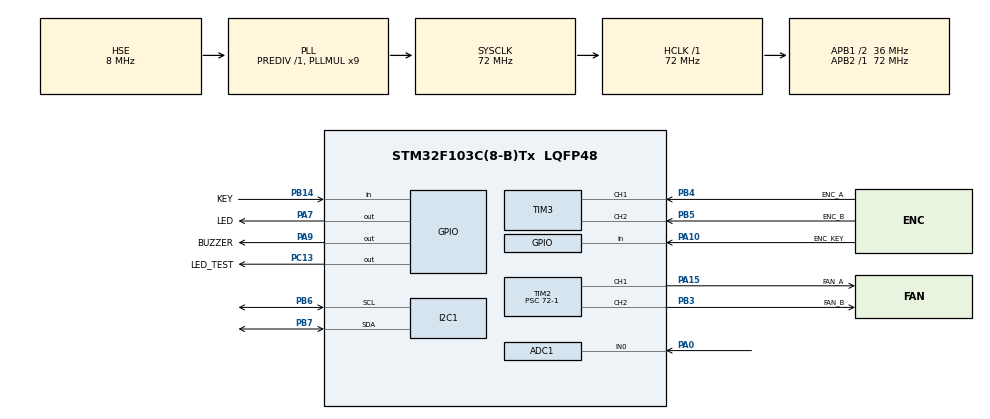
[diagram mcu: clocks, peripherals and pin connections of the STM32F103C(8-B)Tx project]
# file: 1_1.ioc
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ADC1.Channel-0\#ChannelRegularConversion=ADC_CHANNEL_0
ADC1.NbrOfConversionFlag=1
ADC1.Rank-0\#ChannelRegularConversion=1
ADC1.SamplingTime-0\#ChannelRegularConversion=ADC_SAMPLETIME_239CYCLES_5
ADC1.master=1
Mcu.Family=STM32F1
Mcu.Name=STM32F103C(8-B)Tx
Mcu.Package=LQFP48
NVIC.PriorityGroup=NVIC_PRIORITYGROUP_4
PA0-WKUP.GPIO_Mode=GPIO_MODE_ANALOG
PA0-WKUP.Signal=ADCx_IN0
PA10.GPIO_Label=ENC_KEY
PA10.GPIO_PuPd=GPIO_PULLUP
PA10.Signal=GPIO_Input
PA13.Mode=Serial_Wire
PA13.Signal=SYS_JTMS-SWDIO
PA14.Mode=Serial_Wire
PA14.Signal=SYS_JTCK-SWCLK
PA15.GPIO_Label=FAN_A
PA15.Signal=S_TIM2_CH1_ETR
PA7.GPIO_Label=LED
PA7.Signal=GPIO_Output
PA9.GPIO_Label=BUZZER
PA9.PinState=GPIO_PIN_SET
PA9.Signal=GPIO_Output
PB14.GPIO_Label=KEY
PB14.GPIO_PuPd=GPIO_PULLDOWN
PB14.Signal=GPIO_Input
PB3.GPIO_Label=FAN_B
PB3.Signal=S_TIM2_CH2
PB4.GPIO_Label=ENC_A
PB4.GPIO_PuPd=GPIO_PULLUP
PB4.Signal=S_TIM3_CH1
PB5.GPIO_Label=ENC_B
PB5.GPIO_PuPd=GPIO_PULLUP
PB5.Signal=S_TIM3_CH2
PB6.GPIO_Speed=GPIO_SPEED_FREQ_HIGH
PB6.Mode=I2C
PB6.Signal=I2C1_SCL
PB7.GPIO_Speed=GPIO_SPEED_FREQ_HIGH
PB7.Mode=I2C
PB7.Signal=I2C1_SDA
PC13-TAMPER-RTC.GPIO_Label=LED_TEST
PC13-TAMPER-RTC.GPIO_ModeDefaultOutputPP=GPIO_MODE_OUTPUT_OD
PC13-TAMPER-RTC.GPIO_PuPd=GPIO_NOPULL
PC13-TAMPER-RTC.PinState=GPIO_PIN_SET
PC13-TAMPER-RTC.Signal=GPIO_Output
PD0-OSC_IN.Mode=HSE-External-Oscillator
PD0-OSC_IN.Signal=RCC_OSC_IN
PD1-OSC_OUT.Mode=HSE-External-Oscillator
PD1-OSC_OUT.Signal=RCC_OSC_OUT
ProjectManager.HeapSize=0x200
ProjectManager.StackSize=0x400
ProjectManager.TargetToolchain=CMake
RCC.ADCPresc=RCC_ADCPCLK2_DIV6
RCC.AHBFreq_Value=72000000
RCC.APB1CLKDivider=RCC_HCLK_DIV2
RCC.APB1Freq_Value=36000000
RCC.APB1TimFreq_Value=72000000
RCC.APB2Freq_Value=72000000
RCC.APB2TimFreq_Value=72000000
RCC.HCLKFreq_Value=72000000
RCC.PLLMUL=RCC_PLL_MUL9
RCC.PLLSourceVirtual=RCC_PLLSOURCE_HSE
RCC.SYSCLKFreq_VALUE=72000000
RCC.SYSCLKSource=RCC_SYSCLKSOURCE_PLLCLK
RCC.USBFreq_Value=72000000
SH.ADCx_IN0.0=ADC1_IN0,IN0
SH.S_TIM2_CH1_ETR.0=TIM2_CH1,PWM Generation1 CH1
SH.S_TIM2_CH2.0=TIM2_CH2,PWM Generation2 CH2
SH.S_TIM3_CH1.0=TIM3_CH1,Encoder_Interface
SH.S_TIM3_CH2.0=TIM3_CH2,Encoder_Interface
TIM2.Channel-PWM\ Generation1\ CH1=TIM_CHANNEL_1
TIM2.Channel-PWM\ Generation2\ CH2=TIM_CHANNEL_2
TIM2.Period=100-1
TIM2.Prescaler=72-1
TIM3.IC1Polarity=TIM_ICPOLARITY_FALLING
VP_TIM2_VS_ClockSourceINT.Mode=Internal
board=custom

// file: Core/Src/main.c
/* USER CODE BEGIN Header */
/**
  ******************************************************************************
  * @file           : main.c
  * @brief          : Main program body
  ******************************************************************************
  * @attention
  *
  * Copyright (c) 2025 STMicroelectronics.
  * All rights reserved.
  *
  * This software is licensed under terms that can be found in the LICENSE file
  * in the root directory of this software component.
  * If no LICENSE file comes with this software, it is provided AS-IS.
  *
  ******************************************************************************
  */
/* USER CODE END Header */
#include "main.h"
#include "adc.h"
#include "i2c.h"
#include "tim.h"
#include "gpio.h"

/* USER CODE BEGIN Includes */
#include <math.h>
#include <stdio.h>
#include "ssd1306.h"
#include "drv8833.h"
/* USER CODE END Includes */

/* USER CODE BEGIN PTD */
typedef enum
{
  PHASE_WAIT = 0U,
  PHASE_ALERT
} Phase_t;

typedef enum
{
  UI_STATE_MENU = 0U,
  UI_STATE_MODULE
} UiState_t;

typedef enum
{
  MODULE_TIMER = 0U,
  MODULE_TEMPERATURE,
  MODULE_FAN,
  MODULE_COUNT
} ModuleId_t;

typedef enum
{
  BUTTON_EVENT_NONE = 0U,
  BUTTON_EVENT_SHORT,
  BUTTON_EVENT_LONG
} ButtonEvent_t;
/* USER CODE END PTD */

/* USER CODE BEGIN PD */
#define KEY_PRESSED_STATE GPIO_PIN_SET
/* ENC_KEY (PA10) is wired with a pull-up; low means pressed */
#define ENC_KEY_PRESSED_STATE GPIO_PIN_RESET
#define BUTTON_LONG_PRESS_MS 800U
#define BUTTON_DEBOUNCE_MS 20U
#define TEMP_SAMPLE_PERIOD_MS 1000U
#define TEMP_HIGH_STEP 0.5f
#define TEMP_HIGH_MIN 20.0f
#define TEMP_HIGH_MAX 80.0f
#define ENCODER_PULSES_PER_TURN 40
#define FAN_DUTY_MAX 100U
#define STARTUP_FRAME_INTERVAL_MS 120U
#define FAN_ANIM_INTERVAL_MS 120U

#define THERMISTOR_BETA 4250.0f
#define THERMISTOR_R0 100000.0f
#define THERMISTOR_T0 298.15f
#define SERIES_RESISTOR 100000.0f
#define VREF 3.3f
#define ADC_MAX 4095.0f
/* USER CODE END PD */

/* USER CODE BEGIN PV */
static uint8_t isRunning = 0U;
static Phase_t phase = PHASE_WAIT;
static uint32_t phaseStartTick = 0U;
static uint8_t buzzerPulseActive = 0U;
static uint32_t buzzerEventTick = 0U;
static uint32_t lastTimerDisplaySecond = UINT32_MAX;

static UiState_t uiState = UI_STATE_MENU;
static ModuleId_t currentModule = MODULE_TIMER;
static uint8_t buttonDown = 0U;
static uint32_t buttonDownTick = 0U;
static uint8_t displayDirty = 1U;

static float temperatureC = 0.0f;
static float tempHighC = 30.0f;
static uint32_t lastTempSampleTick = 0U;
static uint32_t lastUiRefreshTick = 0U;
static uint8_t fanEnabled = 0U;
static uint8_t fanDuty = 0U;
static uint8_t fanModuleInitialized = 0U;
static uint8_t fanKeyLastState = 0U;
static uint32_t fanKeyLastChangeTick = 0U;
static uint8_t encoderReady = 0U;
static int16_t encoderLastCount = 0;
static uint8_t fanAnimFrame = 0U;
static uint32_t fanLastAnimTick = 0U;

static const uint8_t heartFrame1[] = {
  0x06, 0x60, 0x1F, 0xF0, 0x3F, 0xF8, 0x7F, 0xFC,
  0x7F, 0xFC, 0x7F, 0xFC, 0x3F, 0xF8, 0x1F, 0xF0,
  0x0F, 0xE0, 0x07, 0xC0, 0x03, 0x80, 0x03, 0x00,
  0x02, 0x00, 0x00, 0x00, 0x00, 0x00, 0x00, 0x00
};

static const uint8_t heartFrame2[] = {
  0x03, 0x30, 0x0F, 0xF0, 0x1F, 0xF8, 0x3F, 0xFC,
  0x3F, 0xFC, 0x1F, 0xF8, 0x0F, 0xF0, 0x07, 0xE0,
  0x03, 0xC0, 0x01, 0x80, 0x01, 0x00, 0x00, 0x00,
  0x00, 0x00, 0x00, 0x00, 0x00, 0x00, 0x00, 0x00
};
/* USER CODE END PV */

void SystemClock_Config(void);
/* USER CODE BEGIN PFP */
static void TimerModule_Reset(uint32_t now);
static void TimerModule_Toggle(uint32_t now);
static void TimerModule_Process(uint32_t now);
static void TemperatureModule_Process(uint32_t now);
static void FanModule_Init(uint32_t now);
static void FanModule_Process(uint32_t now);
static void FanModule_ApplyOutput(void);
static void PlayStartupAnimation(void);
static int16_t Encoder_GetDelta(void);
static void Encoder_ResetPosition(void);
static void RenderMenu(void);
static void RenderTimer(uint8_t ledState, uint32_t msToToggle, uint8_t running, uint8_t progressPercent);
static void RenderTemperature(float tempC, float highC, uint8_t isAlert);
static void RenderFanManual(uint8_t enabled, uint8_t duty, uint8_t animFrame);
static void DrawProgressRing(uint8_t centerX, uint8_t centerY, uint8_t radius, uint8_t percentFilled);
static void DrawFanSpinner(uint8_t centerX, uint8_t centerY, uint8_t frame, uint8_t enabled);
static ButtonEvent_t Button_Poll(uint32_t now, GPIO_PinState keyState);
static void HandleButtonEvent(ButtonEvent_t event, uint32_t now);
static float ReadTemperatureC(void);
/* USER CODE END PFP */

/* USER CODE BEGIN 0 */
const uint32_t Wait_time = 2000U;
const uint32_t Last_time = 10000U;
const uint32_t BuzzerOnTime = 200U;
const uint32_t BuzzerOffTime = 300U;
/* USER CODE END 0 */

static void PlayStartupAnimation(void)
{
  const uint8_t *frames[] = {heartFrame1, heartFrame2};
  const uint8_t frameCount = 2U;
  const uint8_t loopCount = 6U;
  uint32_t startTick = HAL_GetTick();

  for (uint8_t i = 0U; i < loopCount; ++i)
  {
    uint8_t frameIndex = (uint8_t)(i % frameCount);
    SSD1306_Fill(0U);
    SSD1306_DrawBitmap(56U, 12U, 16U, 16U, frames[frameIndex]);
    SSD1306_SetCursor(28U, 36U);
    SSD1306_WriteString("Hello, friend!");
    SSD1306_SetCursor(40U, 48U);
    SSD1306_WriteString("Stay warm");
    SSD1306_UpdateScreen();

    uint32_t targetTick = startTick + ((uint32_t)(i + 1U) * STARTUP_FRAME_INTERVAL_MS);
    while ((int32_t)(targetTick - HAL_GetTick()) > 0)
    {
      HAL_Delay(5U);
    }
  }

  SSD1306_Fill(0U);
  SSD1306_UpdateScreen();
}

int main(void)
{

  /* MCU Configuration--------------------------------------------------------*/

  /* Reset of all peripherals, Initializes the Flash interface and the Systick. */
  HAL_Init();

  /* Configure the system clock */
  SystemClock_Config();

  /* Initialize all configured peripherals */
  MX_GPIO_Init();
  MX_I2C1_Init();
  MX_ADC1_Init();
  MX_TIM2_Init();
  MX_TIM3_Init();
  /* USER CODE BEGIN 2 */
  DRV8833_Init();
  HAL_TIM_Encoder_Start(&htim3, TIM_CHANNEL_ALL);
  encoderReady = 1U;
  Encoder_ResetPosition();
  SSD1306_Init();
  SSD1306_Fill(0U);
  SSD1306_UpdateScreen();
  PlayStartupAnimation();
  HAL_GPIO_WritePin(LED_GPIO_Port, LED_Pin, GPIO_PIN_RESET);
  HAL_GPIO_WritePin(BUZZER_GPIO_Port, BUZZER_Pin, GPIO_PIN_SET);
  TimerModule_Reset(HAL_GetTick());
  displayDirty = 1U;
  /* USER CODE END 2 */

  /* Infinite loop */
  /* USER CODE BEGIN WHILE */
  while (1)
  {
    uint32_t now = HAL_GetTick();
    HAL_GPIO_WritePin(LED_TEST_GPIO_Port, LED_TEST_Pin, GPIO_PIN_RESET);
    GPIO_PinState keyState = HAL_GPIO_ReadPin(KEY_GPIO_Port, KEY_Pin);
    ButtonEvent_t event = Button_Poll(now, keyState);
    HandleButtonEvent(event, now);

    if (uiState == UI_STATE_MENU)
    {
      HAL_GPIO_WritePin(BUZZER_GPIO_Port, BUZZER_Pin, GPIO_PIN_SET);
      HAL_GPIO_WritePin(LED_GPIO_Port, LED_Pin, GPIO_PIN_RESET);
      if ((displayDirty != 0U) || ((now - lastUiRefreshTick) > 500U))
      {
        RenderMenu();
        displayDirty = 0U;
        lastUiRefreshTick = now;
      }
    }
    else
    {
      if (currentModule == MODULE_TIMER)
      {
        TimerModule_Process(now);
      }
      else if (currentModule == MODULE_TEMPERATURE)
      {
        TemperatureModule_Process(now);
      }
      else
      {
        FanModule_Process(now);
      }
    }
  }

    /* USER CODE END WHILE */

}

void SystemClock_Config(void)
{
  RCC_OscInitTypeDef RCC_OscInitStruct = {0};
  RCC_ClkInitTypeDef RCC_ClkInitStruct = {0};
  RCC_PeriphCLKInitTypeDef PeriphClkInit = {0};

  /** Initializes the RCC Oscillators according to the specified parameters
  * in the RCC_OscInitTypeDef structure.
  */
  RCC_OscInitStruct.OscillatorType = RCC_OSCILLATORTYPE_HSE;
  RCC_OscInitStruct.HSEState = RCC_HSE_ON;
  RCC_OscInitStruct.HSEPredivValue = RCC_HSE_PREDIV_DIV1;
  RCC_OscInitStruct.HSIState = RCC_HSI_ON;
  RCC_OscInitStruct.PLL.PLLState = RCC_PLL_ON;
  RCC_OscInitStruct.PLL.PLLSource = RCC_PLLSOURCE_HSE;
  RCC_OscInitStruct.PLL.PLLMUL = RCC_PLL_MUL9;
  if (HAL_RCC_OscConfig(&RCC_OscInitStruct) != HAL_OK)
  {
    Error_Handler();
  }

  /** Initializes the CPU, AHB and APB buses clocks
  */
  RCC_ClkInitStruct.ClockType = RCC_CLOCKTYPE_HCLK|RCC_CLOCKTYPE_SYSCLK
                              |RCC_CLOCKTYPE_PCLK1|RCC_CLOCKTYPE_PCLK2;
  RCC_ClkInitStruct.SYSCLKSource = RCC_SYSCLKSOURCE_PLLCLK;
  RCC_ClkInitStruct.AHBCLKDivider = RCC_SYSCLK_DIV1;
  RCC_ClkInitStruct.APB1CLKDivider = RCC_HCLK_DIV2;
  RCC_ClkInitStruct.APB2CLKDivider = RCC_HCLK_DIV1;

  if (HAL_RCC_ClockConfig(&RCC_ClkInitStruct, FLASH_LATENCY_2) != HAL_OK)
  {
    Error_Handler();
  }
  PeriphClkInit.PeriphClockSelection = RCC_PERIPHCLK_ADC;
  PeriphClkInit.AdcClockSelection = RCC_ADCPCLK2_DIV6;
  if (HAL_RCCEx_PeriphCLKConfig(&PeriphClkInit) != HAL_OK)
  {
    Error_Handler();
  }
}

/* USER CODE BEGIN 4 */
static void RenderMenu(void)
{
  char line1[18];
  char line2[18];
  char line3[18];
  snprintf(line1, sizeof(line1), "%c Timer", (currentModule == MODULE_TIMER) ? '>' : ' ');
  snprintf(line2, sizeof(line2), "%c Temp", (currentModule == MODULE_TEMPERATURE) ? '>' : ' ');
  snprintf(line3, sizeof(line3), "%c Fan PWM", (currentModule == MODULE_FAN) ? '>' : ' ');
  SSD1306_Fill(0U);
  SSD1306_SetCursor(0U, 0U);
  SSD1306_WriteString("Main Menu");
  SSD1306_SetCursor(0U, 16U);
  SSD1306_WriteString(line1);
  SSD1306_SetCursor(0U, 32U);
  SSD1306_WriteString(line2);
  SSD1306_SetCursor(0U, 48U);
  SSD1306_WriteString(line3);
  SSD1306_SetCursor(88U, 48U);
  SSD1306_WriteString("Short:Next");
  SSD1306_SetCursor(88U, 56U);
  SSD1306_WriteString("Long:Enter");
  SSD1306_UpdateScreen();
}

static void RenderTimer(uint8_t ledState, uint32_t msToToggle, uint8_t running, uint8_t progressPercent)
{
  uint32_t seconds = (msToToggle + 999U) / 1000U;
  const char *stateText = ledState ? "ON" : "OFF";
  const char *direction = ledState ? "to OFF" : "to ON";

  if (running == 0U)
  {
    direction = "to ON";
  }
  char line1[21];
  char line2[25];
  char line3[25];

  snprintf(line1, sizeof(line1), "LED: %s", stateText);
  if (running != 0U)
  {
    snprintf(line2, sizeof(line2), "REMAIN: %03lus (%s)", (unsigned long)seconds, direction);
  }
  else
  {
    snprintf(line2, sizeof(line2), "REMAIN: ---s (%s)", direction);
  }
  snprintf(line3, sizeof(line3), "Short: %s", (running != 0U) ? "Stop" : "Start");

  SSD1306_Fill(0U);
  SSD1306_SetCursor(0U, 0U);
  SSD1306_WriteString("Timer Module");
  SSD1306_SetCursor(0U, 16U);
  SSD1306_WriteString(line1);
  SSD1306_SetCursor(0U, 32U);
  SSD1306_WriteString(line2);
  SSD1306_SetCursor(0U, 48U);
  SSD1306_WriteString(line3);
  SSD1306_SetCursor(90U, 48U);
  SSD1306_WriteString("Long:Menu");
  DrawProgressRing(104U, 24U, 12U, progressPercent);
  SSD1306_UpdateScreen();
}

static void RenderTemperature(float tempC, float highC, uint8_t isAlert)
{
  char line1[25];
  char line2[25];
  char line3[25];
  snprintf(line1, sizeof(line1), "Temp: %0.1fC", (double)tempC);
  snprintf(line2, sizeof(line2), "High: %0.1fC", (double)highC);
  snprintf(line3, sizeof(line3), "State: %s", isAlert ? "ALERT" : "Normal");

  SSD1306_Fill(0U);
  SSD1306_SetCursor(0U, 0U);
  SSD1306_WriteString("Temp Module");
  SSD1306_SetCursor(0U, 16U);
  SSD1306_WriteString(line1);
  SSD1306_SetCursor(0U, 32U);
  SSD1306_WriteString(line2);
  SSD1306_SetCursor(0U, 48U);
  SSD1306_WriteString(line3);
  SSD1306_SetCursor(0U, 56U);
  SSD1306_WriteString("EncKey:Edit");
  SSD1306_SetCursor(90U, 48U);
  SSD1306_WriteString("Short:+0.5");
  SSD1306_SetCursor(90U, 56U);
  SSD1306_WriteString("Long:Menu");
  SSD1306_UpdateScreen();
}

static void RenderFanManual(uint8_t enabled, uint8_t duty, uint8_t animFrame)
{
  char line1[25];
  char line2[25];
  char line3[25];

  snprintf(line1, sizeof(line1), "Mode: Manual");
  snprintf(line2, sizeof(line2), "Fan: %s", enabled ? "On " : "Off");
  snprintf(line3, sizeof(line3), "Speed: %3u%% (Enc)", (unsigned int)duty);

  SSD1306_Fill(0U);
  SSD1306_SetCursor(0U, 0U);
  SSD1306_WriteString("Fan Control (PWM)");
  SSD1306_SetCursor(0U, 16U);
  SSD1306_WriteString(line1);
  SSD1306_SetCursor(0U, 32U);
  SSD1306_WriteString(line2);
  SSD1306_SetCursor(0U, 48U);
  SSD1306_WriteString(line3);
  SSD1306_SetCursor(0U, 56U);
  SSD1306_WriteString("Key:Stop Long:Menu");
  DrawFanSpinner(104U, 24U, animFrame, enabled);
  SSD1306_UpdateScreen();
}

static void DrawProgressRing(uint8_t centerX, uint8_t centerY, uint8_t radius, uint8_t percentFilled)
{
  static const int8_t ringPoints[][2] = {
    {0, -12}, {4, -11}, {8, -8}, {11, -4}, {12, 0}, {11, 4}, {8, 8}, {4, 11},
    {0, 12}, {-4, 11}, {-8, 8}, {-11, 4}, {-12, 0}, {-11, -4}, {-8, -8}, {-4, -11}
  };

  uint8_t totalPoints = (uint8_t)(sizeof(ringPoints) / sizeof(ringPoints[0]));
  uint8_t filledPoints = (uint8_t)((percentFilled * totalPoints + 99U) / 100U);
  for (uint8_t i = 0U; i < totalPoints; ++i)
  {
    int16_t dx = (int16_t)((ringPoints[i][0] * radius) / 12);
    int16_t dy = (int16_t)((ringPoints[i][1] * radius) / 12);
    uint8_t x = (uint8_t)(centerX + dx);
    uint8_t y = (uint8_t)(centerY + dy);
    SSD1306_DrawPixel(x, y, 1U);
    if (i < filledPoints)
    {
      uint8_t accentY = (uint8_t)(y + ((dy >= 0) ? 1U : (uint8_t)0U));
      SSD1306_DrawPixel(x, accentY, 1U);
    }
  }
}

static void DrawFanSpinner(uint8_t centerX, uint8_t centerY, uint8_t frame, uint8_t enabled)
{
  static const int8_t spinnerFrames[4U][8U][2U] = {
    {{0, -7}, {0, -6}, {7, 0}, {6, 0}, {0, 7}, {0, 6}, {-7, 0}, {-6, 0}},
    {{5, -5}, {4, -4}, {5, 5}, {4, 4}, {-5, 5}, {-4, 4}, {-5, -5}, {-4, -4}},
    {{0, -6}, {1, -7}, {7, 1}, {7, 0}, {0, 6}, {-1, 7}, {-7, -1}, {-7, 0}},
    {{4, -6}, {6, -4}, {6, 4}, {4, 6}, {-4, 6}, {-6, 4}, {-6, -4}, {-4, -6}}
  };

  uint8_t frameIndex = enabled ? (uint8_t)(frame % 4U) : 0U;
  for (uint8_t i = 0U; i < 8U; ++i)
  {
    uint8_t x = (uint8_t)(centerX + spinnerFrames[frameIndex][i][0]);
    uint8_t y = (uint8_t)(centerY + spinnerFrames[frameIndex][i][1]);
    SSD1306_DrawPixel(x, y, 1U);
  }

  SSD1306_DrawPixel(centerX, centerY, 1U);
  SSD1306_DrawPixel(centerX + 1U, centerY, enabled ? 1U : 0U);
  SSD1306_DrawPixel(centerX, centerY + 1U, enabled ? 1U : 0U);
}

static ButtonEvent_t Button_Poll(uint32_t now, GPIO_PinState keyState)
{
  if ((keyState == KEY_PRESSED_STATE) && (buttonDown == 0U))
  {
    buttonDown = 1U;
    buttonDownTick = now;
  }
  else if ((keyState != KEY_PRESSED_STATE) && (buttonDown != 0U))
  {
    uint32_t duration = now - buttonDownTick;
    buttonDown = 0U;
    if (duration >= BUTTON_LONG_PRESS_MS)
    {
      return BUTTON_EVENT_LONG;
    }
    else if (duration >= BUTTON_DEBOUNCE_MS)
    {
      return BUTTON_EVENT_SHORT;
    }
  }
  return BUTTON_EVENT_NONE;
}

static void HandleButtonEvent(ButtonEvent_t event, uint32_t now)
{
  if (event == BUTTON_EVENT_LONG)
  {
    if (uiState == UI_STATE_MENU)
    {
      uiState = UI_STATE_MODULE;
      if (currentModule == MODULE_TIMER)
      {
        TimerModule_Reset(now);
      }
      else if (currentModule == MODULE_FAN)
      {
        FanModule_Init(now);
      }
      Encoder_ResetPosition();
      displayDirty = 1U;
    }
    else
    {
      uiState = UI_STATE_MENU;
      if (currentModule == MODULE_TIMER)
      {
        TimerModule_Reset(now);
      }
      HAL_GPIO_WritePin(BUZZER_GPIO_Port, BUZZER_Pin, GPIO_PIN_SET);
      HAL_GPIO_WritePin(LED_GPIO_Port, LED_Pin, GPIO_PIN_RESET);
      displayDirty = 1U;
    }
  }
  else if (event == BUTTON_EVENT_SHORT)
  {
    if (uiState == UI_STATE_MENU)
    {
      currentModule = (ModuleId_t)((currentModule + 1U) % MODULE_COUNT);
      displayDirty = 1U;
    }
    else if (currentModule == MODULE_TIMER)
    {
      TimerModule_Toggle(now);
      displayDirty = 1U;
    }
    else if (currentModule == MODULE_FAN)
    {
      fanEnabled = (uint8_t)(1U - fanEnabled);
      FanModule_ApplyOutput();
      displayDirty = 1U;
    }
    else
    {
      tempHighC += TEMP_HIGH_STEP;
      if (tempHighC > TEMP_HIGH_MAX)
      {
        tempHighC = TEMP_HIGH_MIN;
      }
      displayDirty = 1U;
    }
  }
}

static void Encoder_ResetPosition(void)
{
  if (encoderReady == 0U)
  {
    return;
  }

  __HAL_TIM_SET_COUNTER(&htim3, 0U);
  encoderLastCount = 0;
}

static int16_t Encoder_GetDelta(void)
{
  if (encoderReady == 0U)
  {
    return 0;
  }

  int16_t current = (int16_t)__HAL_TIM_GET_COUNTER(&htim3);
  int16_t delta = (int16_t)(current - encoderLastCount);
  encoderLastCount = current;
  return delta;
}

static void TimerModule_Reset(uint32_t now)
{
  isRunning = 0U;
  phase = PHASE_WAIT;
  phaseStartTick = now;
  buzzerPulseActive = 0U;
  buzzerEventTick = now;
  lastTimerDisplaySecond = UINT32_MAX;
  HAL_GPIO_WritePin(BUZZER_GPIO_Port, BUZZER_Pin, GPIO_PIN_SET);
  HAL_GPIO_WritePin(LED_GPIO_Port, LED_Pin, GPIO_PIN_RESET);
}

static void TimerModule_Toggle(uint32_t now)
{
  isRunning = !isRunning;
  phase = PHASE_WAIT;
  phaseStartTick = now;
  buzzerPulseActive = 0U;
  buzzerEventTick = now;
  lastTimerDisplaySecond = UINT32_MAX;
  HAL_GPIO_WritePin(BUZZER_GPIO_Port, BUZZER_Pin, GPIO_PIN_SET);
}

static void TimerModule_Process(uint32_t now)
{
  uint8_t stateChanged = 0U;
  uint32_t msToNextEvent = Wait_time;
  uint8_t progressPercent = 0U;

  if (isRunning == 1U)
  {
    switch (phase)
    {
      case PHASE_WAIT:
      {
        HAL_GPIO_WritePin(BUZZER_GPIO_Port, BUZZER_Pin, GPIO_PIN_SET);
        uint32_t elapsed = now - phaseStartTick;
        if (elapsed >= Wait_time)
        {
          phase = PHASE_ALERT;
          phaseStartTick = now;
          buzzerPulseActive = 0U;
          buzzerEventTick = now;
          stateChanged = 1U;
        }
        msToNextEvent = (elapsed < Wait_time) ? (Wait_time - elapsed) : 0U;
        break;
      }
      case PHASE_ALERT:
      default:
      {
        if ((buzzerPulseActive == 0U) && (now >= buzzerEventTick))
        {
          HAL_GPIO_WritePin(BUZZER_GPIO_Port, BUZZER_Pin, GPIO_PIN_RESET);
          buzzerPulseActive = 1U;
          buzzerEventTick = now + BuzzerOnTime;
        }
        else if ((buzzerPulseActive == 1U) && (now >= buzzerEventTick))
        {
          HAL_GPIO_WritePin(BUZZER_GPIO_Port, BUZZER_Pin, GPIO_PIN_SET);
          buzzerPulseActive = 0U;
          buzzerEventTick = now + BuzzerOffTime;
        }

        uint32_t elapsed = now - phaseStartTick;
        if (elapsed >= Last_time)
        {
          HAL_GPIO_WritePin(BUZZER_GPIO_Port, BUZZER_Pin, GPIO_PIN_SET);
          phase = PHASE_WAIT;
          phaseStartTick = now;
          buzzerPulseActive = 0U;
          buzzerEventTick = now;
          stateChanged = 1U;
        }
        msToNextEvent = (elapsed < Last_time) ? (Last_time - elapsed) : 0U;
        break;
      }
    }
  }
  else
  {
    HAL_GPIO_WritePin(BUZZER_GPIO_Port, BUZZER_Pin, GPIO_PIN_SET);
    msToNextEvent = Wait_time;
  }

  uint8_t ledState = (isRunning == 1U) && (phase == PHASE_ALERT);
  HAL_GPIO_WritePin(LED_GPIO_Port, LED_Pin, ledState ? GPIO_PIN_SET : GPIO_PIN_RESET);
  if (isRunning != 0U)
  {
    uint32_t phaseDuration = (phase == PHASE_WAIT) ? Wait_time : Last_time;
    uint32_t elapsed = now - phaseStartTick;
    if (elapsed > phaseDuration)
    {
      elapsed = phaseDuration;
    }
    progressPercent = (uint8_t)((elapsed * 100U) / phaseDuration);
  }
  uint32_t currentSecond = (msToNextEvent + 999U) / 1000U;
  if ((displayDirty != 0U) || (currentSecond != lastTimerDisplaySecond) || (stateChanged != 0U))
  {
    RenderTimer(ledState, msToNextEvent, isRunning, progressPercent);
    lastTimerDisplaySecond = currentSecond;
    displayDirty = 0U;
  }
}

static void FanModule_ApplyOutput(void)
{
  if ((fanEnabled != 0U) && (fanDuty > 0U))
  {
    if (fanDuty > FAN_DUTY_MAX)
    {
      fanDuty = FAN_DUTY_MAX;
    }
    DRV8833_Forward(fanDuty);
  }
  else
  {
    DRV8833_Coast();
  }
}

static void FanModule_Init(uint32_t now)
{
  (void)now;
  if (fanModuleInitialized == 0U)
  {
    fanDuty = 30U;
    fanEnabled = 0U;
    fanModuleInitialized = 1U;
  }
  fanKeyLastState = (uint8_t)HAL_GPIO_ReadPin(ENC_KEY_GPIO_Port, ENC_KEY_Pin);
  fanKeyLastChangeTick = HAL_GetTick();
  FanModule_ApplyOutput();
  displayDirty = 1U;
}

static void FanModule_Process(uint32_t now)
{
  if (fanModuleInitialized == 0U)
  {
    FanModule_Init(now);
  }

  int16_t encoderDelta = Encoder_GetDelta();
  if (encoderDelta != 0)
  {
    int16_t newDuty = (int16_t)fanDuty + encoderDelta;
    if (newDuty < 0)
    {
      newDuty = 0;
    }
    else if (newDuty > (int16_t)FAN_DUTY_MAX)
    {
      newDuty = (int16_t)FAN_DUTY_MAX;
    }

    if (fanDuty != (uint8_t)newDuty)
    {
      fanDuty = (uint8_t)newDuty;
      FanModule_ApplyOutput();
      displayDirty = 1U;
    }
  }

  uint8_t keyState = (uint8_t)HAL_GPIO_ReadPin(ENC_KEY_GPIO_Port, ENC_KEY_Pin);
  if (keyState != fanKeyLastState)
  {
    if ((now - fanKeyLastChangeTick) >= BUTTON_DEBOUNCE_MS)
    {
      fanKeyLastChangeTick = now;
      fanKeyLastState = keyState;
      if (keyState == ENC_KEY_PRESSED_STATE)
      {
        fanEnabled = (uint8_t)(1U - fanEnabled);
        FanModule_ApplyOutput();
        displayDirty = 1U;
      }
    }
  }

  if (fanEnabled != 0U)
  {
    if ((now - fanLastAnimTick) >= FAN_ANIM_INTERVAL_MS)
    {
      fanAnimFrame = (uint8_t)((fanAnimFrame + 1U) % 4U);
      fanLastAnimTick = now;
      displayDirty = 1U;
    }
  }
  else
  {
    fanAnimFrame = 0U;
    fanLastAnimTick = now;
  }

  if ((displayDirty != 0U) || ((now - lastUiRefreshTick) > 500U))
  {
    RenderFanManual(fanEnabled, fanDuty, fanAnimFrame);
    displayDirty = 0U;
    lastUiRefreshTick = now;
  }
}

static float ReadTemperatureC(void)
{
  if (HAL_ADC_Start(&hadc1) != HAL_OK)
  {
    return temperatureC;
  }
  if (HAL_ADC_PollForConversion(&hadc1, 10U) != HAL_OK)
  {
    HAL_ADC_Stop(&hadc1);
    return temperatureC;
  }
  uint32_t raw = HAL_ADC_GetValue(&hadc1);
  HAL_ADC_Stop(&hadc1);

  /* Convert ADC ratio to resistance using a 100k/NTC divider with thermistor to GND */
  float ratio = (float)raw / ADC_MAX;
  if (ratio <= 0.0f)
  {
    ratio = 0.0001f;
  }
  else if (ratio >= 0.9999f)
  {
    ratio = 0.9999f;
  }

  float resistance = SERIES_RESISTOR * ratio / (1.0f - ratio);
  float tempK = 1.0f / ((1.0f / THERMISTOR_BETA) * logf(resistance / THERMISTOR_R0) + (1.0f / THERMISTOR_T0));
  return tempK - 273.15f;
}

static void TemperatureModule_Process(uint32_t now)
{
  static uint8_t initialized = 0U;
  static uint8_t editMode = 0U;
  static uint8_t lastButtonState = 0U;
  static uint32_t lastButtonChangeTick = 0U;
  static float editableHighC = 30.0f;
  static uint32_t lastBlinkTick = 0U;
  static uint8_t ledBlinkState = 0U;
  static uint8_t buzzerOn = 0U;
  static uint32_t lastBuzzerTick = 0U;

  if (initialized == 0U)
  {
    lastButtonState = (uint8_t)HAL_GPIO_ReadPin(ENC_KEY_GPIO_Port, ENC_KEY_Pin);
    editableHighC = tempHighC;
    initialized = 1U;
  }

  uint8_t buttonState = (uint8_t)HAL_GPIO_ReadPin(ENC_KEY_GPIO_Port, ENC_KEY_Pin);
  if (buttonState != lastButtonState)
  {
    if ((now - lastButtonChangeTick) >= BUTTON_DEBOUNCE_MS)
    {
      lastButtonChangeTick = now;
      lastButtonState = buttonState;
      if (buttonState == ENC_KEY_PRESSED_STATE)
      {
        editMode = (uint8_t)(1U - editMode);
        displayDirty = 1U;
      }
    }
  }

  int16_t encoderDelta = Encoder_GetDelta();
  if ((editMode != 0U) && (encoderDelta != 0))
  {
    editableHighC += (float)encoderDelta * TEMP_HIGH_STEP;
    if (editableHighC < TEMP_HIGH_MIN)
    {
      editableHighC = TEMP_HIGH_MIN;
    }
    else if (editableHighC > TEMP_HIGH_MAX)
    {
      editableHighC = TEMP_HIGH_MAX;
    }
    displayDirty = 1U;
  }

  tempHighC = editableHighC;

  if ((lastTempSampleTick == 0U) || ((now - lastTempSampleTick) >= TEMP_SAMPLE_PERIOD_MS))
  {
    temperatureC = ReadTemperatureC();
    lastTempSampleTick = now;
    displayDirty = 1U;
  }

  uint8_t alert = (temperatureC >= tempHighC) ? 1U : 0U;
  if (alert != 0U)
  {
    if ((now - lastBlinkTick) >= 250U)
    {
      ledBlinkState = (uint8_t)(1U - ledBlinkState);
      lastBlinkTick = now;
    }
    HAL_GPIO_WritePin(LED_GPIO_Port, LED_Pin, ledBlinkState ? GPIO_PIN_SET : GPIO_PIN_RESET);

    uint32_t buzzerWindow = buzzerOn ? 200U : 300U;
    if ((now - lastBuzzerTick) >= buzzerWindow)
    {
      buzzerOn = (uint8_t)(1U - buzzerOn);
      HAL_GPIO_WritePin(BUZZER_GPIO_Port, BUZZER_Pin, buzzerOn ? GPIO_PIN_RESET : GPIO_PIN_SET);
      lastBuzzerTick = now;
    }
  }
  else
  {
    ledBlinkState = 0U;
    HAL_GPIO_WritePin(LED_GPIO_Port, LED_Pin, GPIO_PIN_RESET);
    HAL_GPIO_WritePin(BUZZER_GPIO_Port, BUZZER_Pin, GPIO_PIN_SET);
    buzzerOn = 0U;
    lastBuzzerTick = now;
  }

  if ((displayDirty != 0U) || ((now - lastUiRefreshTick) > 500U))
  {
    RenderTemperature(temperatureC, tempHighC, alert);
    if (editMode != 0U)
    {
      SSD1306_SetCursor(0U, 32U);
      SSD1306_WriteString("> ");
      SSD1306_UpdateScreen();
    }
    displayDirty = 0U;
    lastUiRefreshTick = now;
  }
}
/* USER CODE END 4 */

void Error_Handler(void)
{
  __disable_irq();
  while (1)
  {
  }
}
